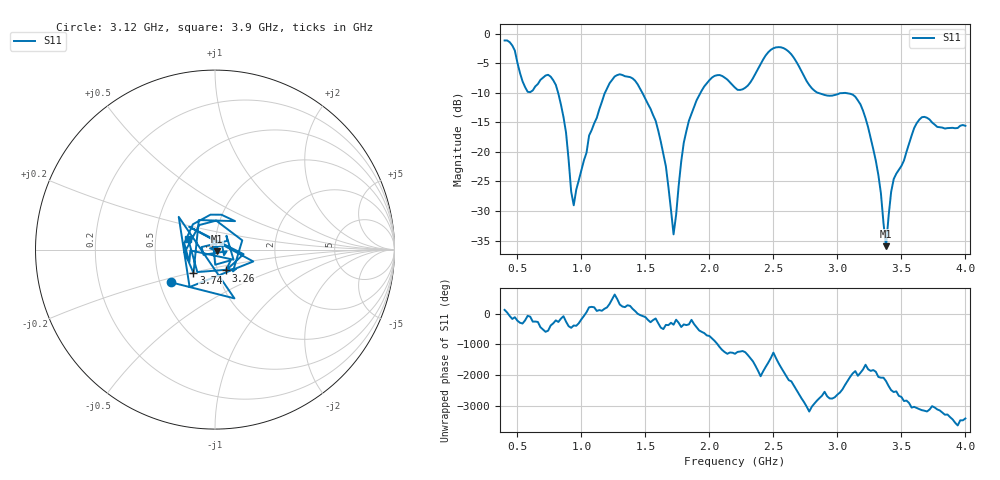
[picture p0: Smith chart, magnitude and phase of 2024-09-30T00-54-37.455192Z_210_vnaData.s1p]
!Created with skrf (http://scikit-rf.org).
# Hz S RI R 50.0
!freq ReS11 ImS11
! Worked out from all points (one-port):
!   181 points, 400 MHz to 4 GHz, reference 50 ohm
!   lowest |S11| = -36.0 dB at 3.38 GHz (marker M1), VSWR 1.03, Z = 51.3 - j0.951 ohm
!   |S11| at or under -10 dB: 818 MHz to 1.184 GHz (366.4 MHz wide, 36.6 % of centre); 1.476 GHz to 1.931 GHz (455.5 MHz wide, 26.7 % of centre); 2.846 GHz to end of sweep
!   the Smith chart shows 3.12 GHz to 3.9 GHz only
!   S11 on the Smith chart (normalised r, x): 3.12 GHz: 0.57, -0.23; 3.26 GHz: 1.10, -0.26; 3.74 GHz: 0.76, -0.21; 3.9 GHz: 0.74, +0.09
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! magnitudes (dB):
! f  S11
! 400 MHz  -1.2
! 580 MHz  -9.8
! 760 MHz  -7.3
! 860 MHz  -14.1
! 940 MHz  -29.0
! 1.06 GHz  -17.2
! 1.3 GHz  -6.9
! 1.58 GHz  -14.7
! 1.66 GHz  -22.5
! 1.72 GHz  -34.0
! 1.76 GHz  -25.7
! 1.82 GHz  -16.5
! 1.94 GHz  -9.6
! 2.2 GHz  -9.1
! 2.5 GHz  -2.5
! 2.66 GHz  -4.1
! 2.84 GHz  -10.0
! 3.1 GHz  -10.2
! 3.12 GHz  -10.3
! 3.26 GHz  -17.6
! 3.32 GHz  -23.9
! 3.38 GHz  -36.0
! 3.44 GHz  -24.6
! 3.56 GHz  -18.6
! 3.66 GHz  -14.1
! 3.74 GHz  -15.0
! 3.9 GHz  -15.9
! 4 GHz  -15.6
